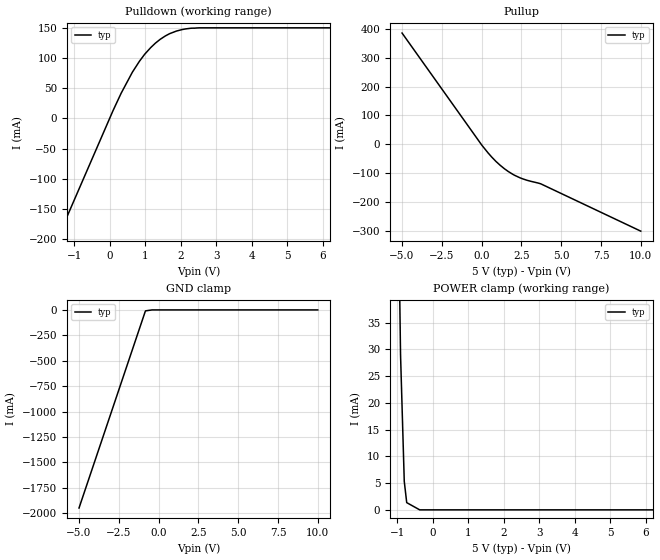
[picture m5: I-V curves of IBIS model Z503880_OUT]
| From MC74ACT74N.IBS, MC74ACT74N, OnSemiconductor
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| (C) COPYRIGHT 1993-2000
| MENTOR GRAPHICS CORPORATION
| ICX STANDARD LIBRARY, ICX PROJECT MODELING,
| ICX CUSTOM MODELING, ICX VENDOR MODEL
| ALL RIGHTS RESERVED.
| THE FOLLOWING ARE TRADEMARKS OR SERVICE MARKS OF
| MENTOR GRAPHICS CORPORATION:ICX (R), ICX STANDARD
| LIBRARY(R), ICX PROJECT MODELING(R), ICX CUSTOM
| MODELING(R), qualityIBIS(TM), MODELVIEWER(TM),
| AND MODELEDITOR(TM)
| ALL COPIES OF SOFTWARE, INCLUDING BUT NOT LIMITED TO
| ANY MODIFICATIONS, ENHANCEMENTS OR DERIVATIVE WORKS,
| MUST CONTAIN ALL MENTOR GRAPHICS CORPORATION'S
| NOTICES AND LEGENDS, INCLUDING THOSE EMBEDDED IN
| SOFTWARE AND THOSE AFFIXED TO SOFTWARE MEDIUM
| AND CONTAINER, AS RECEIVED FROM MENTOR GRAPHICS
| CORPORATION.
| Model Application Version 1.89 2/18/99.
[Model] Z503880_OUT
Model_type Output
Vref=0.000V
Rref=500.0ohms
Cref=50.00pF
Vmeas=1.500V
C_comp 8.000pF NA NA
| variable typ   min   max
[Voltage Range] 5.000V NA NA
[POWER Clamp Reference] 5.000V NA NA
[Pullup Reference] 5.000V NA NA
[Pulldown Reference] 0.000V NA NA
[GND Clamp Reference] 0.000V NA NA
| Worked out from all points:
|   slope of the pulldown table from 0 to 0.75 V, typ, clamps not added: 8.62 ohm
|   slope of the pullup table from 0 to 0.75 V, typ, clamps not added: 15.4 ohm
[GND Clamp]
-5V       -1.95A     NA         NA
-844.7mV  -18.3mA    NA         NA
-818.9mV  -9.318mA   NA         NA
-409.4mV  0A         NA         NA
10V       0A         NA         NA
[Pulldown]
-5V       -681mA     NA         NA
92.77mV   12.81mA    NA         NA
323mV     41.98mA    NA         NA
640.8mV   77.18mA    NA         NA
839.8mV   95.36mA    NA         NA
986.8mV   107mA      NA         NA
1.289V    125.5mA    NA         NA
1.69V     141.3mA    NA         NA
2.04V     148.1mA    NA         NA
2.519V    151mA      NA         NA
10V       151mA      NA         NA
[Pullup]
-5V       385.6mA    NA         NA
20mV      -3.854mA   NA         NA
635mV     -44.55mA   NA         NA
1.163V    -72.95mA   NA         NA
2.066V    -107.7mA   NA         NA
2.861V    -125.3mA   NA         NA
3.711V    -137.3mA   NA         NA
10V       -301.6mA   NA         NA
[POWER Clamp]
-5V       2.495A     NA         NA
-1.044V   94.3mA     NA         NA
-906mV    29mA       NA         NA
-801mV    5.315mA    NA         NA
-732mV    1.349mA    NA         NA
-366mV    0A         NA         NA
10V       0A         NA         NA
[Ramp]
| variable typ min max
dV/dt_r 2.937/665.9p NA NA
dV/dt_f 2.937/393.4p NA NA
R_load = 500.0Ohms
